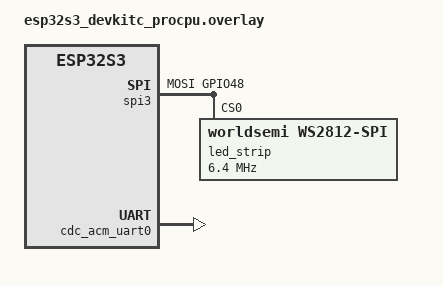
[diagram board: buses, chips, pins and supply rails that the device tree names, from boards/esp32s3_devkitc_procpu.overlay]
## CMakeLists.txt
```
cmake_minimum_required(VERSION 3.20.0)

find_package(Zephyr REQUIRED HINTS $ENV{ZEPHYR_BASE})

project(esp32_grillthermo)

target_sources(app PRIVATE
    src/main.c
    src/config.c
    src/shell.c
    src/wifi.c
    src/webserver.c
    src/temp_data.c
    src/bluetooth.c
    src/coex_printf.c
    src/status.c
)

zephyr_linker_sources(SECTIONS sections-rom.ld)
```

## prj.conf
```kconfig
# Bluetooth (BLE-REQ-01..10) — coexist_printf-Workaround in app/src/coex_printf.c
# (hal_espressif esp32s3-CMakeLists haengt die Quelle nicht ein; lokal nachgereicht)
CONFIG_BT=y
CONFIG_BT_CENTRAL=y
CONFIG_BT_GATT_CLIENT=y
CONFIG_BT_GATT_AUTO_DISCOVER_CCC=n
# Ohne automatischen MTU-Exchange bleibt ATT_MTU=23 (Default), womit
# Notifications auf 20 B Nutzdaten begrenzt sind — der G32 sendet ~28 B.
CONFIG_BT_GATT_AUTO_UPDATE_MTU=y
CONFIG_BT_DEVICE_NAME="ESP32_Grillthermo"
CONFIG_BT_MAX_CONN=1
CONFIG_BT_MAX_PAIRED=0
# BLE-NFR-03: kein SMP/Bonding, keine Settings-Persistenz
CONFIG_BT_SMP=n
CONFIG_BT_SETTINGS=n
# BLE-REQ-03: Eigenes bt-Kommando in shell.c — Zephyrs eingebauter bt-Shell-Befehl off
CONFIG_BT_SHELL=n
# Notify-Payload des G32: 28 B Nutzdaten — Buffer mit Reserve
CONFIG_BT_L2CAP_TX_MTU=64
CONFIG_BT_BUF_ACL_RX_SIZE=68

# Networking
CONFIG_NETWORKING=y
CONFIG_NET_TCP=y
CONFIG_NET_IPV4=y

# WiFi (ESP32) — WIFI_ESP32 wird automatisch durch Board-DTS aktiviert
CONFIG_WIFI=y
CONFIG_NET_DHCPV4=y
CONFIG_NET_L2_WIFI_MGMT=y
# Auto-DHCPv4 des ESP32-WiFi-Treibers (in Zephyr 4.4 mit ESP32_-Praefix)
CONFIG_ESP32_WIFI_STA_AUTO_DHCPV4=y

# Netzwerkpuffer: TX muss Headers (ungeACKt) + HTML-Body (~2KB inkl. SSE-Script)
# gleichzeitig halten. net_buf je 128B: ~16 buf fuer Body + Header-Reserve; 48 mit Margin.
CONFIG_NET_PKT_RX_COUNT=16
CONFIG_NET_PKT_TX_COUNT=16
CONFIG_NET_BUF_RX_COUNT=32
CONFIG_NET_BUF_TX_COUNT=48
CONFIG_NET_MGMT_EVENT_QUEUE_SIZE=16
CONFIG_NET_MGMT_EVENT_QUEUE_TIMEOUT=5000

# HTTP Server
CONFIG_HTTP_SERVER=y
CONFIG_HTTP_SERVER_CLIENT_BUFFER_SIZE=1500
CONFIG_HTTP_SERVER_STACK_SIZE=4096
# WEB-REQ-08: maximal 3 gleichzeitige HTTP-Clients
CONFIG_HTTP_SERVER_MAX_CLIENTS=3
# HTTP_SERVER_SOCK_COUNT = 1 (eventfd) + NUM_SERVICES (1) + MAX_CLIENTS (3) = 5
CONFIG_ZVFS_POLL_MAX=8

# USB (neuer Device Stack, Zephyr 4.x)
CONFIG_USB_DEVICE_STACK_NEXT=y
CONFIG_CDC_ACM_SERIAL_INITIALIZE_AT_BOOT=y
CONFIG_UART_LINE_CTRL=y

# Shell
CONFIG_SHELL=y
CONFIG_SHELL_BACKEND_SERIAL=y
CONFIG_SHELL_BACKEND_SERIAL_CHECK_DTR=y

# Hostname (WIF-REQ-06)
CONFIG_NET_HOSTNAME_ENABLE=y
CONFIG_NET_HOSTNAME_DYNAMIC=y

# Logging
CONFIG_LOG=y
CONFIG_SHELL_LOG_BACKEND=y
CONFIG_LOG_CMDS=y
CONFIG_LOG_DEFAULT_LEVEL=1

# Systemneustart (SHL-REQ-11)
CONFIG_REBOOT=y

# Konfigurationsspeicher (CFG-REQ-01, CFG-REQ-02, CFG-REQ-06)
CONFIG_FLASH=y
CONFIG_FLASH_MAP=y
CONFIG_NVS=y
CONFIG_CRC=y

# Statusanzeige RGB-LED WS2812 via SPI3 (STA-REQ-01)
CONFIG_LED_STRIP=y
CONFIG_WS2812_STRIP_SPI=y
```

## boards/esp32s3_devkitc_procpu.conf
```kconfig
# Board-specific configuration for ESP32-S3 DevKitC
CONFIG_UART_CONSOLE=y
```

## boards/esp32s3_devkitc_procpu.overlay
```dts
#include <zephyr/dt-bindings/led/led.h>
#include <zephyr/dt-bindings/pinctrl/esp32s3-pinctrl.h>

/ {
    chosen {
        zephyr,console = &cdc_acm_uart0;
        zephyr,shell-uart = &cdc_acm_uart0;
    };

    /* STA-REQ-01: Alias fuer RGB-LED-Strip */
    aliases {
        led-strip = &led_strip;
    };
};

/* STA-REQ-01: Pinctrl fuer SPI3 MOSI auf GPIO 48 (WS2812 RGB-LED) */
&pinctrl {
    spim3_ws2812: spim3_ws2812 {
        group1 {
            pinmux = <SPIM3_MOSI_GPIO48>;
            output-enable;
        };
    };
};

/* STA-REQ-01: SPI3 als WS2812-Treiber auf GPIO 48 */
&spi3 {
    pinctrl-0 = <&spim3_ws2812>;
    pinctrl-names = "default";
    line-idle-low;

    led_strip: ws2812@0 {
        compatible = "worldsemi,ws2812-spi";
        reg = <0>;
        spi-max-frequency = <6400000>;
        chain-length = <1>;
        spi-cpha;
        /* WS2812: 1-Bit = 4 High + 4 Low, 0-Bit = 2 High + 6 Low bei 6.4 MHz */
        spi-one-frame = <0xf0>;
        spi-zero-frame = <0xc0>;
        /* WS2812 sendet in GRB-Reihenfolge */
        color-mapping = <LED_COLOR_ID_GREEN
                         LED_COLOR_ID_RED
                         LED_COLOR_ID_BLUE>;
    };
};

&zephyr_udc0 {
    cdc_acm_uart0: cdc_acm_uart0 {
        compatible = "zephyr,cdc-acm-uart";
    };
};
```

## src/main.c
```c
/* SHL-REQ-01: USB CDC-ACM wird automatisch durch
 * CONFIG_CDC_ACM_SERIAL_INITIALIZE_AT_BOOT initialisiert.
 * SHL-REQ-07: Bootmeldung und DTR-Erkennung in shell.c */
#include "webserver.h"
#include "config.h"

#include <zephyr/kernel.h>
#include <zephyr/logging/log.h>

LOG_MODULE_REGISTER(esp32_grillthermo, LOG_LEVEL_ERR);

int main(void)
{
    Config_Data_t cfg;

    LOG_INF("ESP32 Grillthermo gestartet.");

    /* CFG-REQ-07 / ADR-001: Webserver nur starten wenn Netzwerkmodus webserver.
     * Config_Init() wurde bereits via SYS_INIT (APPLICATION, 0) ausgefuehrt. */
    if (Config_Load(&cfg) != 0) {
        Config_GetDefaults(&cfg);
    }

    if (cfg.networkMode == CFG_NETWORK_WEBSERVER) {
        Webserver_Start();
    }

    return 0;
}
```

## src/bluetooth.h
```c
/* BLE-REQ-01..10: Bluetooth-Kommunikation mit Otto Wilde G32 */
#ifndef APP_BLUETOOTH_H
#define APP_BLUETOOTH_H

#include <stdint.h>
#include <stdbool.h>
#include "config.h"

/* BLE-REQ-10: Bluetooth-Statusstruktur fuer externe Module (Shell/LED) */
typedef struct {
    bool     connected;                            /* GATT-Verbindung mit Notify aktiv */
    bool     paired;                               /* Grill-MAC im Konfigurationsspeicher hinterlegt */
    char     peerMac[CFG_GRILL_MAC_BUF_SIZE];      /* gekoppelte MAC oder leer */
    uint32_t lastPacketUptimeMs;                   /* Uptime (ms) des letzten Notify-Pakets */
} Bluetooth_Status_t;

/* BLE-REQ-03: Scan starten.
 * filterByG32 = true: nur Geraete mit Advertising-Name "OWG-G32C" oder G32-Service-UUID
 * filterByG32 = false: alle empfangenen Geraete (Diagnose, "bt scan all").
 * Scan endet automatisch nach BLUETOOTH_SCAN_TIMEOUT_MS oder per Bluetooth_ScanStop(). */
int Bluetooth_ScanStart(bool filterByG32);

/* BLE-REQ-03: Laufenden Scan vorzeitig beenden. */
int Bluetooth_ScanStop(void);

/* BLE-REQ-04..08: Verbindungsaufbau zur gespeicherten Grill-MAC ausloesen.
 * Liest die aktuelle Konfiguration; bei leerer MAC nur Hinweis-Log, kein Fehler. */
int Bluetooth_Reconnect(void);

/* BLE-REQ-03: Aktive GATT-Verbindung zum Grill trennen. */
int Bluetooth_Disconnect(void);

/* BLE-REQ-10: Aktuellen Status abfragen. */
void Bluetooth_GetStatus(Bluetooth_Status_t *status);

/* Diagnose: Sniff-Modus ein-/ausschalten. Bei aktivem Sniff wird jede
 * empfangene Notify-Payload als Hex-Dump plus aktuell decodierter Belegung
 * (Brenner/Kern/Gas mit Byte-Offsets) auf die Konsole geschrieben. */
void Bluetooth_SetSniff(bool enable);
bool Bluetooth_GetSniff(void);

#endif /* APP_BLUETOOTH_H */
```

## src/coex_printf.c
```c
/* Workaround fuer Zephyr 4.4 / hal_espressif esp32s3:
 * Der Coexist-Blob (libcoexist.a) referenziert coexist_printf, dessen
 * Quelle (components/esp_coex/src/lib_printf.c) im esp32s3-CMakeLists
 * NICHT im CONFIG_ESP32_SW_COEXIST_ENABLE-Block eingehaengt ist
 * (vorhanden nur im esp32-Build). Solange das Upstream nicht gepatcht
 * ist, liefern wir die Funktion hier nach.
 *
 * Die Funktion wird nur bei aktivierter BT+WiFi-Koexistenz vom Blob
 * aufgerufen; sie sollte das Format ausgeben und die Laenge melden. */

#include <stdarg.h>
#include <stdio.h>
#include <zephyr/sys/printk.h>

int coexist_printf(const char *format, ...);

int coexist_printf(const char *format, ...)
{
    va_list args;
    char    buf[80];
    int     len;

    va_start(args, format);
    len = vsnprintf(buf, sizeof(buf), format, args);
    va_end(args);

    if (len > 0) {
        printk("[coexist] %s", buf);
    }

    return len;
}
```

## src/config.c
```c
/* CFG-REQ-01, CFG-REQ-02, CFG-REQ-03, CFG-REQ-06, CFG-NFR-01, CFG-NFR-02, CFG-NFR-03 */
#include "config.h"

#include <zephyr/kernel.h>
#include <zephyr/logging/log.h>
#include <zephyr/fs/nvs.h>
#include <zephyr/storage/flash_map.h>
#include <zephyr/sys/crc.h>
#include <stddef.h>
#include <string.h>
#include <errno.h>

LOG_MODULE_REGISTER(config_store, LOG_LEVEL_ERR);

/* CFG-NFR-01: Ausschliesslich Zephyr NVS API, kein direkter Flash-Zugriff */
/* CFG-NFR-02: Alle Puffer statisch alloziert, keine dynamische Speicherverwaltung */

/* ESP32-S3: Flash-Loeschseite 4 KB; storage_partition 192 KB = 48 Sektoren */
#define NVS_SECTOR_SIZE  (0x1000U)
#define NVS_SECTOR_COUNT (48U)
#define NVS_SLOT_COUNT   (3U)   /* CFG-REQ-06: drei Generationen */
#define NVS_ID_BASE      (1U)   /* NVS-ID 0 ist reserviert */

/* CFG-REQ-06: Datensatz pro Slot — CRC muss das letzte Feld sein */
typedef struct {
    uint8_t       generation;
    bool          valid;
    Config_Data_t data;
    uint32_t      crc; /* deckt alle vorigen Felder ab */
} Config_Record_t;

static struct nvs_fs g_NvsFs;
static bool          g_Initialized = false;

/* CFG-REQ-06: CRC32 ueber alle Felder des Records ausser dem CRC-Feld selbst */
static uint32_t Config_ComputeCrc(const Config_Record_t *record)
{
    return crc32_ieee((const uint8_t *)record, offsetof(Config_Record_t, crc));
}

/* CFG-REQ-06: Prueft Gueltigkeitsflag und CRC-Korrektheit */
static bool Config_IsRecordValid(const Config_Record_t *record)
{
    uint32_t expected;

    if (!record->valid) {
        return false;
    }

    expected = Config_ComputeCrc(record);

    return (record->crc == expected);
}

/* CFG-REQ-06: Neueste gueltige Generation unter den drei Slots suchen.
 * Rueckgabe: Slot-Index [0..2] oder -1 wenn kein gueltiger Eintrag vorhanden. */
static int Config_FindNewest(const Config_Record_t records[NVS_SLOT_COUNT])
{
    int    newestIdx = -1;
    size_t i;

    for (i = 0U; i < NVS_SLOT_COUNT; i++) {
        if (!Config_IsRecordValid(&records[i])) {
            continue;
        }

        if (newestIdx < 0) {
            newestIdx = (int)i;
        } else {
            /* Modularer uint8_t-Vergleich sichert korrekte Behandlung des Ueberlaufs */
            uint8_t diff = records[i].generation - records[newestIdx].generation;

            if (diff < 128U) {
                newestIdx = (int)i;
            }
        }
    }

    return newestIdx;
}

/* CFG-REQ-02: Konfiguration aus NVS laden; bei Fehler Standardwerte verwenden */
int Config_Load(Config_Data_t *data)
{
    /* Statisch alloziert: 732 Byte; verhindert Stack-Ueberlauf auf dem Shell-Thread */
    static Config_Record_t records[NVS_SLOT_COUNT];
    uint16_t               id;
    int                    newestIdx;
    ssize_t                rc;
    size_t                 i;

    if (data == NULL) {
        return -EINVAL;
    }

    if (!g_Initialized) {
        Config_GetDefaults(data);
        return -ENODEV;
    }

    (void)memset(records, 0, sizeof(records));

    for (i = 0U; i < NVS_SLOT_COUNT; i++) {
        id = (uint16_t)(NVS_ID_BASE + i);
        rc = nvs_read(&g_NvsFs, id, &records[i], sizeof(Config_Record_t));

        if ((rc != (ssize_t)sizeof(Config_Record_t)) && (rc != -ENOENT)) {
            /* CFG-NFR-03: Lesefehler loggen; Eintrag bleibt null-initialisiert (ungueltig) */
            LOG_ERR("NVS-Lesefehler Slot %u: %d", (unsigned int)id, (int)rc);
        }
    }

    newestIdx = Config_FindNewest(records);

    if (newestIdx < 0) {
        /* CFG-NFR-03: Kein gueltiger Eintrag — System startet mit Standardwerten */
        LOG_INF("Keine gueltige Konfiguration; Standardwerte aktiv.");
        Config_GetDefaults(data);
        return -ENOENT;
    }

    LOG_INF("Konfiguration geladen (Generation %u).",
            (unsigned int)records[newestIdx].generation);
    *data = records[newestIdx].data;

    return 0;
}

/* CFG-REQ-01: Konfiguration in NVS speichern.
 * Schreibvorgang wird vor der Rueckkehr abgeschlossen (kein Hintergrundpuffer). */
int Config_Save(const Config_Data_t *data)
{
    /* Statisch alloziert: 976 Byte gesamt; verhindert Stack-Ueberlauf auf dem Shell-Thread */
    static Config_Record_t records[NVS_SLOT_COUNT];
    static Config_Record_t newRecord;
    uint16_t               writeId;
    int                    newestIdx;
    ssize_t                rc;
    size_t                 i;

    if (data == NULL) {
        return -EINVAL;
    }

    if (!g_Initialized) {
        return -ENODEV;
    }

    (void)memset(records, 0, sizeof(records));

    /* Vorhandene Eintraege lesen um aktuelle Generation zu ermitteln */
    for (i = 0U; i < NVS_SLOT_COUNT; i++) {
        uint16_t id = (uint16_t)(NVS_ID_BASE + i);

        (void)nvs_read(&g_NvsFs, id, &records[i], sizeof(Config_Record_t));
    }

    newestIdx = Config_FindNewest(records);

    /* Naechste Generation berechnen; uint8_t-Ueberlauf (255 -> 0) ist gewollt */
    if (newestIdx < 0) {
        newRecord.generation = 0U;
    } else {
        newRecord.generation = (uint8_t)(records[newestIdx].generation + 1U);
    }

    newRecord.valid = true;
    newRecord.data  = *data;
    newRecord.crc   = Config_ComputeCrc(&newRecord);

    /* CFG-REQ-06: Slot-Zuweisung per Modulo ueber Slot-Anzahl */
    writeId = (uint16_t)(NVS_ID_BASE + (newRecord.generation % (uint8_t)NVS_SLOT_COUNT));

    rc = nvs_write(&g_NvsFs, writeId, &newRecord, sizeof(Config_Record_t));

    if (rc < 0) {
        /* CFG-NFR-03: Schreibfehler loggen */
        LOG_ERR("NVS-Schreibfehler Slot %u: %d", (unsigned int)writeId, (int)rc);
        return (int)rc;
    }

    LOG_INF("Konfiguration gespeichert (Generation %u, Slot %u).",
            (unsigned int)newRecord.generation, (unsigned int)writeId);

    return 0;
}

/* CFG-REQ-04: Standardwerte fuer alle Parameter setzen */
void Config_GetDefaults(Config_Data_t *data)
{
    if (data == NULL) {
        return;
    }

    (void)memset(data, 0, sizeof(Config_Data_t));
    (void)strncpy(data->pin, CFG_PIN_DEFAULT, CFG_PIN_BUF_SIZE - 1U);
    data->pin[CFG_PIN_BUF_SIZE - 1U] = '\0';
    data->brightnessStep = 6U; /* STA-REQ-07/09: Stufe 6 = 25 % Standard */
}

/* CFG-REQ-03: Alle NVS-Slots ungueltig schreiben.
 * CFG-REQ-06: Ungueltige Eintraege haben valid=false UND absichtlich falsche CRC. */
int Config_InvalidateAll(void)
{
    Config_Record_t record;
    uint16_t        id;
    ssize_t         rc;
    int             lastError = 0;
    size_t          i;

    if (!g_Initialized) {
        return -ENODEV;
    }

    for (i = 0U; i < NVS_SLOT_COUNT; i++) {
        id = (uint16_t)(NVS_ID_BASE + i);

        (void)memset(&record, 0, sizeof(Config_Record_t));
        record.generation = (uint8_t)i;
        record.valid      = false;
        /* Korrekten Wert berechnen und dann negieren — garantiert falsche CRC */
        record.crc = Config_ComputeCrc(&record) ^ 0xFFFFFFFFU;

        rc = nvs_write(&g_NvsFs, id, &record, sizeof(Config_Record_t));

        if (rc < 0) {
            /* CFG-NFR-03: Fehler loggen, aber restliche Slots weiter invalidieren */
            LOG_ERR("NVS-Invalidierungsfehler Slot %u: %d", (unsigned int)id, (int)rc);
            lastError = (int)rc;
        }
    }

    return lastError;
}

/* CFG-REQ-01, CFG-REQ-02: NVS-Dateisystem initialisieren und einhaengen */
int Config_Init(void)
{
    int rc;

    if (g_Initialized) {
        return 0;
    }

    g_NvsFs.flash_device = FIXED_PARTITION_DEVICE(storage_partition);
    g_NvsFs.offset       = (off_t)FIXED_PARTITION_OFFSET(storage_partition);
    g_NvsFs.sector_size  = (uint32_t)NVS_SECTOR_SIZE;
    g_NvsFs.sector_count = (uint32_t)NVS_SECTOR_COUNT;

    rc = nvs_mount(&g_NvsFs);

    if (rc < 0) {
        /* CFG-NFR-03: Initialisierungsfehler loggen; System bleibt funktionsfaehig */
        LOG_ERR("NVS-Initialisierungsfehler: %d", rc);
        return rc;
    }

    g_Initialized = true;
    LOG_INF("NVS initialisiert (%u Sektoren x %u Byte).",
            (unsigned int)NVS_SECTOR_COUNT, (unsigned int)NVS_SECTOR_SIZE);

    return 0;
}
```

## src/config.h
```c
/* CFG-REQ-01, CFG-REQ-02, CFG-REQ-04, CFG-REQ-06: Konfigurationsspeicher-API */
#ifndef APP_CONFIG_H
#define APP_CONFIG_H

#include <stdint.h>
#include <stdbool.h>

#define CFG_WIFI_SSID_MAX_LEN      (32U)
#define CFG_WIFI_PASS_MAX_LEN      (64U)
#define CFG_WIFI_HOSTNAME_MAX_LEN  (63U)  /* WIF-REQ-06: Zephyr NET_HOSTNAME_MAX_LEN (range 1-63) */
#define CFG_PIN_MIN_LEN            (4U)
#define CFG_PIN_MAX_LEN            (6U)
#define CFG_PIN_BUF_SIZE           (CFG_PIN_MAX_LEN + 1U)
#define CFG_PIN_DEFAULT            "000000"
/* BLE-REQ-07: MAC des gekoppelten Otto-Wilde-G32 als Zeichenkette
 * "AA:BB:CC:DD:EE:FF" (17 Zeichen + Nullterminator). Leer = keine Kopplung. */
#define CFG_GRILL_MAC_STR_LEN      (17U)
#define CFG_GRILL_MAC_BUF_SIZE     (CFG_GRILL_MAC_STR_LEN + 1U)

/* CFG-REQ-04: Konfigurationsparameter */
typedef struct {
    char    wifiSsid[CFG_WIFI_SSID_MAX_LEN + 1U];
    char    wifiPassword[CFG_WIFI_PASS_MAX_LEN + 1U]; /* TODO: CFG-REQ-05 AES */
    char    wifiHostname[CFG_WIFI_HOSTNAME_MAX_LEN + 1U]; /* WIF-REQ-06 */
    char    pin[CFG_PIN_BUF_SIZE];                    /* TODO: CFG-REQ-05 AES */
    char    grillMac[CFG_GRILL_MAC_BUF_SIZE];         /* BLE-REQ-07 */
    uint8_t brightnessStep;                            /* STA-REQ-09: LED-Helligkeit (0..9) */
} Config_Data_t;

int  Config_Init(void);
int  Config_Load(Config_Data_t *data);
int  Config_Save(const Config_Data_t *data);
void Config_GetDefaults(Config_Data_t *data);
int  Config_InvalidateAll(void);

#endif /* APP_CONFIG_H */
```

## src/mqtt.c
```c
/* MQT-REQ-01, MQT-REQ-03, MQT-NFR-01, MQT-NFR-02: MQTT-Verbindung und Publishing, MISRA-konform */
#include "mqtt.h"
#include "config.h"
#include "temp_data.h"
#include "wifi.h"

#include <zephyr/kernel.h>
#include <zephyr/logging/log.h>
#include <zephyr/net/mqtt.h>
#include <zephyr/net/socket.h>
#include <zephyr/sys/printk.h>
#include <string.h>

LOG_MODULE_REGISTER(grill_mqtt, LOG_LEVEL_INF);

/* MQT-NFR-02: Puffer als Compile-Zeit-Konstanten dimensioniert */
#define MQTT_RX_BUF_SIZE     (512U)
#define MQTT_TX_BUF_SIZE     (256U)
#define MQTT_KEEPALIVE_S     (60U)
#define MQTT_POLL_TIMEOUT_MS (30000)
#define MQTT_PORT_STR        "1883"
#define MQTT_RECONNECT_S     (30U)
#define MQTT_STACK_SIZE      (4096U)
#define MQTT_THREAD_PRIO     (5)

/* MQT-REQ-03: Publishing-Konstanten */
#define MQTT_PUB_STACK_SIZE    (2048U)
#define MQTT_PUB_THREAD_PRIO   (6)
#define MQTT_TOPIC_BUF_SIZE    (32U)
#define MQTT_PAYLOAD_BUF_SIZE  (8U)
#define MQTT_TOPIC_PREFIX      "ESP_Grillthermo/"
#define MQTT_PUBLISH_INTERVAL_S (10U)

static uint8_t            g_RxBuf[MQTT_RX_BUF_SIZE];
static uint8_t            g_TxBuf[MQTT_TX_BUF_SIZE];
static struct mqtt_client g_Client;
/* MISRA 11.4: struct sockaddr_in fuer Broker-Adresse; cast auf const void* fuer MQTT-API noetig */
static struct sockaddr_in g_BrokerAddr;
static bool               g_TcpActive = false; /* TCP-Verbindung offen (inkl. MQTT-Handshake) */
static bool               g_Connected = false; /* MQTT CONNACK erfolgreich */
static char               g_BrokerHostname[CFG_MQTT_BROKER_MAX_LEN + 1U];
static char               g_ClientId[CFG_WIFI_HOSTNAME_MAX_LEN + 1U];
static char               g_Password[CFG_MQTT_PASS_MAX_LEN + 1U];
static struct mqtt_utf8   g_MqttPassword;
static struct mqtt_utf8   g_MqttUserName;

/* MQT-REQ-01: Semaphor fuer sofortigen Wiederverbindungsversuch */
static K_SEM_DEFINE(g_ReconnectSem, 0, 1);

/* MQT-REQ-03: Mutex serialisiert mqtt_input/mqtt_live/mqtt_publish gegen gleichzeitigen Zugriff */
static K_MUTEX_DEFINE(g_MqttClientMutex);

static K_THREAD_STACK_DEFINE(g_MqttStack, MQTT_STACK_SIZE);
static struct k_thread g_MqttThread;

static K_THREAD_STACK_DEFINE(g_PubStack, MQTT_PUB_STACK_SIZE);
static struct k_thread g_PubThread;

static void Mqtt_EventCb(struct mqtt_client *client, const struct mqtt_evt *evt)
{
    ARG_UNUSED(client);

    switch (evt->type) {
    case MQTT_EVT_CONNACK:
        if (evt->result == 0) {
            g_Connected = true;
            LOG_INF("MQTT verbunden: %s", g_BrokerHostname);
        } else {
            /* Broker hat Verbindung abgelehnt (z.B. falsche Zugangsdaten) */
            LOG_WRN("MQTT CONNACK abgelehnt: Code %d", evt->result);
            g_TcpActive = false;
        }
        break;

    case MQTT_EVT_DISCONNECT:
        g_Connected = false;
        g_TcpActive = false;
        LOG_INF("MQTT getrennt");
        break;

    default:
        break;
    }
}

static int Mqtt_DoConnect(void)
{
    struct zsock_addrinfo *res = NULL;
    int rc;

    rc = zsock_getaddrinfo(g_BrokerHostname, MQTT_PORT_STR, NULL, &res);
    if (rc != 0) {
        LOG_ERR("DNS-Aufloesung fehlgeschlagen fuer %s: %d", g_BrokerHostname, rc);
        return -EHOSTUNREACH;
    }

    if (res == NULL) {
        return -EHOSTUNREACH;
    }

    /* Adresse in statischen Puffer kopieren; res->ai_addr zeigt auf struct sockaddr_in */
    (void)memcpy(&g_BrokerAddr, res->ai_addr, sizeof(g_BrokerAddr));
    zsock_freeaddrinfo(res);

    mqtt_client_init(&g_Client);

    /* MISRA 11.3: Pointer-Cast auf const void* fuer Zephyr MQTT API (broker-Feld) */
    g_Client.broker           = (const void *)&g_BrokerAddr;
    g_Client.evt_cb           = Mqtt_EventCb;
    g_Client.client_id.utf8   = (const uint8_t *)g_ClientId;
    g_Client.client_id.size   = (uint32_t)strlen(g_ClientId);
    g_Client.keepalive        = (uint16_t)MQTT_KEEPALIVE_S;
    g_Client.protocol_version = (uint8_t)MQTT_VERSION_3_1_1;
    g_Client.rx_buf           = g_RxBuf;
    g_Client.rx_buf_size      = (uint32_t)MQTT_RX_BUF_SIZE;
    g_Client.tx_buf           = g_TxBuf;
    g_Client.tx_buf_size      = (uint32_t)MQTT_TX_BUF_SIZE;
    g_Client.transport.type   = MQTT_TRANSPORT_NON_SECURE;
    g_Client.user_name        = NULL;
    g_Client.password         = NULL;

    if (g_Password[0] != '\0') {
        /* MQTT-Spec: Passwort erfordert Benutzername; ClientId wird als Benutzername verwendet */
        g_MqttUserName.utf8    = (const uint8_t *)g_ClientId;
        g_MqttUserName.size    = (uint32_t)strlen(g_ClientId);
        g_MqttPassword.utf8    = (const uint8_t *)g_Password;
        g_MqttPassword.size    = (uint32_t)strlen(g_Password);
        g_Client.user_name     = &g_MqttUserName;
        g_Client.password      = &g_MqttPassword;
    }

    rc = mqtt_connect(&g_Client);
    if (rc == 0) {
        g_TcpActive = true;
    } else {
        LOG_ERR("mqtt_connect fehlgeschlagen: %d", rc);
    }

    return rc;
}

static void Mqtt_RunEventLoop(void)
{
    struct zsock_pollfd fds;
    int                 rc;

    fds.events  = ZSOCK_POLLIN;
    fds.revents = 0;

    /* Schleife laeuft solange TCP-Verbindung offen ist — auch waehrend des CONNACK-Wartens */
    while (g_TcpActive) {
        fds.fd = g_Client.transport.tcp.sock;

        /* zsock_poll ohne Mutex: blockiert nur auf Socket-Daten, beruehrt g_Client nicht */
        rc = zsock_poll(&fds, 1, MQTT_POLL_TIMEOUT_MS);
        if (rc < 0) {
            LOG_ERR("poll-Fehler: %d", rc);
            g_TcpActive = false;
            break;
        }

        (void)k_mutex_lock(&g_MqttClientMutex, K_FOREVER);

        if (rc > 0) {
            rc = mqtt_input(&g_Client);
            if (rc != 0) {
                LOG_ERR("mqtt_input-Fehler: %d", rc);
                g_TcpActive = false;
                (void)k_mutex_unlock(&g_MqttClientMutex);
                break;
            }
        }

        rc = mqtt_live(&g_Client);

        (void)k_mutex_unlock(&g_MqttClientMutex);

        if ((rc != 0) && (rc != -EAGAIN)) {
            LOG_ERR("mqtt_live-Fehler: %d", rc);
            g_TcpActive = false;
            break;
        }
    }
}

/* MQT-REQ-03: Einzelnen Wert auf ein Topic publizieren (QoS 0, Retain gesetzt).
 * Muss unter g_MqttClientMutex aufgerufen werden. */
static int Mqtt_PublishValue(const char *topic, int16_t value)
{
    char                      payload[MQTT_PAYLOAD_BUF_SIZE];
    struct mqtt_publish_param param;
    int                       n;

    n = snprintk(payload, sizeof(payload), "%d", (int)value);
    if ((n <= 0) || (n >= (int)sizeof(payload))) {
        return -EINVAL;
    }

    param.message.topic.qos        = MQTT_QOS_0_AT_MOST_ONCE;
    param.message.topic.topic.utf8 = (const uint8_t *)topic;
    param.message.topic.topic.size = (uint32_t)strlen(topic);
    param.message.payload.data     = (uint8_t *)payload;
    param.message.payload.len      = (uint32_t)n;
    param.message_id               = 0U;
    param.dup_flag                 = 0U;
    param.retain_flag              = 1U;

    return mqtt_publish(&g_Client, &param);
}

/* MQT-REQ-03: Alle gueltigen Werte aus dem Snapshot publizieren.
 * Muss unter g_MqttClientMutex aufgerufen werden. */
static void Mqtt_PublishSnapshot(const Temp_Data_t *snap)
{
    char    topic[MQTT_TOPIC_BUF_SIZE];
    uint8_t i;
    int     rc;

    for (i = 0U; i < (uint8_t)TEMP_ZONE_COUNT; i++) {
        if (snap->burner[i].valid) {
            (void)snprintk(topic, sizeof(topic),
                           MQTT_TOPIC_PREFIX "burner/%u/", (unsigned)(i + 1U));
            rc = Mqtt_PublishValue(topic, snap->burner[i].value);
            if (rc != 0) {
                LOG_WRN("Publish fehlgeschlagen fuer %s: %d", topic, rc);
            }
        }

        if (snap->core[i].valid) {
            (void)snprintk(topic, sizeof(topic),
                           MQTT_TOPIC_PREFIX "core/%u/", (unsigned)(i + 1U));
            rc = Mqtt_PublishValue(topic, snap->core[i].value);
            if (rc != 0) {
                LOG_WRN("Publish fehlgeschlagen fuer %s: %d", topic, rc);
            }
        }
    }

    if (snap->gas.valid) {
        rc = Mqtt_PublishValue(MQTT_TOPIC_PREFIX "gas/level/", snap->gas.value);
        if (rc != 0) {
            LOG_WRN("Publish fehlgeschlagen fuer gas/level: %d", rc);
        }
    }
}

/* MQT-REQ-03: Publish-Thread — publiziert alle gueltigen Messwerte im 10-Sekunden-Takt */
static void Mqtt_PublishThread(void *p1, void *p2, void *p3)
{
    Temp_Data_t snap;

    ARG_UNUSED(p1);
    ARG_UNUSED(p2);
    ARG_UNUSED(p3);

    for (;;) {
        k_sleep(K_SECONDS(MQTT_PUBLISH_INTERVAL_S));

        (void)k_mutex_lock(&g_TempMutex, K_FOREVER);
        snap = g_TempData;
        (void)k_mutex_unlock(&g_TempMutex);

        (void)k_mutex_lock(&g_MqttClientMutex, K_FOREVER);
        if (g_Connected) {
            Mqtt_PublishSnapshot(&snap);
        }
        (void)k_mutex_unlock(&g_MqttClientMutex);
    }
}

static void Mqtt_Thread(void *p1, void *p2, void *p3)
{
    Config_Data_t cfg;

    ARG_UNUSED(p1);
    ARG_UNUSED(p2);
    ARG_UNUSED(p3);

    /* MQT-REQ-01 / ADR-001: Thread sofort beenden wenn Netzwerkmodus nicht mqtt.
     * Config_Init() ist zu diesem Zeitpunkt via SYS_INIT bereits abgeschlossen. */
    if (Config_Load(&cfg) != 0) {
        Config_GetDefaults(&cfg);
    }
    if (cfg.networkMode != CFG_NETWORK_MQTT) {
        return;
    }

    for (;;) {
        /* MQT-REQ-01: Erst WiFi abwarten, bevor Verbindungsversuch */
        while (!Wifi_WaitConnected(K_SECONDS(30))) {
            /* Weiter warten bis WiFi bereit ist */
        }

        if (Config_Load(&cfg) != 0) {
            Config_GetDefaults(&cfg);
        }

        if (cfg.mqttBroker[0] == '\0') {
            /* Kein Broker konfiguriert — auf Konfigurationsaenderung warten */
            (void)k_sem_take(&g_ReconnectSem, K_SECONDS(10));
            continue;
        }

        (void)strncpy(g_BrokerHostname, cfg.mqttBroker, CFG_MQTT_BROKER_MAX_LEN);
        g_BrokerHostname[CFG_MQTT_BROKER_MAX_LEN] = '\0';
        (void)strncpy(g_Password, cfg.mqttPassword, CFG_MQTT_PASS_MAX_LEN);
        g_Password[CFG_MQTT_PASS_MAX_LEN] = '\0';
        (void)strncpy(g_ClientId, cfg.wifiHostname, CFG_WIFI_HOSTNAME_MAX_LEN);
        g_ClientId[CFG_WIFI_HOSTNAME_MAX_LEN] = '\0';

        if (g_ClientId[0] == '\0') {
            /* Fallback: ohne Hostname keine sinnvolle Client-ID */
            (void)strncpy(g_ClientId, "ESP32_Grillthermo", CFG_WIFI_HOSTNAME_MAX_LEN);
            g_ClientId[CFG_WIFI_HOSTNAME_MAX_LEN] = '\0';
        }

        if (Mqtt_DoConnect() == 0) {
            Mqtt_RunEventLoop();
            mqtt_abort(&g_Client);
        }

        (void)k_mutex_lock(&g_MqttClientMutex, K_FOREVER);
        g_TcpActive = false;
        g_Connected = false;
        (void)k_mutex_unlock(&g_MqttClientMutex);

        /* MQT-REQ-01: 30 s warten; Mqtt_Reconnect() kann die Wartezeit verkuerzen */
        (void)k_sem_take(&g_ReconnectSem, K_SECONDS(MQTT_RECONNECT_S));
    }
}

/* MQT-REQ-04: Verbindungsstatus abfragen */
void Mqtt_GetStatus(Mqtt_Status_t *status)
{
    if (status != NULL) {
        status->connected = g_Connected;
        (void)strncpy(status->broker, g_BrokerHostname, CFG_MQTT_BROKER_MAX_LEN);
        status->broker[CFG_MQTT_BROKER_MAX_LEN] = '\0';
    }
}

/* MQT-REQ-01: Sofortigen Wiederverbindungsversuch ausloesen */
void Mqtt_Reconnect(void)
{
    (void)k_sem_give(&g_ReconnectSem);
}

static int Mqtt_Init(void)
{
    (void)k_thread_create(&g_MqttThread, g_MqttStack,
                          K_THREAD_STACK_SIZEOF(g_MqttStack),
                          Mqtt_Thread, NULL, NULL, NULL,
                          MQTT_THREAD_PRIO, 0, K_NO_WAIT);
    (void)k_thread_name_set(&g_MqttThread, "mqtt");

    (void)k_thread_create(&g_PubThread, g_PubStack,
                          K_THREAD_STACK_SIZEOF(g_PubStack),
                          Mqtt_PublishThread, NULL, NULL, NULL,
                          MQTT_PUB_THREAD_PRIO, 0, K_NO_WAIT);
    (void)k_thread_name_set(&g_PubThread, "mqtt_pub");

    return 0;
}

SYS_INIT(Mqtt_Init, APPLICATION, 1);
```

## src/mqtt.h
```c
/* MQT-REQ-01, MQT-REQ-04: MQTT-Verbindungsmanagement */
#ifndef APP_MQTT_H
#define APP_MQTT_H

#include <stdbool.h>
#include "config.h"

typedef struct {
    bool connected;
    char broker[CFG_MQTT_BROKER_MAX_LEN + 1U];
} Mqtt_Status_t;

/* MQT-REQ-04: Aktuellen MQTT-Verbindungsstatus liefern */
void Mqtt_GetStatus(Mqtt_Status_t *status);

/* MQT-REQ-01: Sofortigen Wiederverbindungsversuch ausloesen */
void Mqtt_Reconnect(void);

#endif /* APP_MQTT_H */
```

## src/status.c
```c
/* STA-REQ-01..08, STA-NFR-01..03: RGB-LED Statusanzeige */
#include "status.h"
#include "wifi.h"
#include "bluetooth.h"

#include <zephyr/kernel.h>
#include <zephyr/drivers/led_strip.h>
#include <zephyr/device.h>
#include <zephyr/devicetree.h>

/* STA-NFR-02: Statisch allozierter Stack */
#define STATUS_THREAD_STACK_SIZE  (1024U)
#define STATUS_THREAD_PRIORITY    (10)
/* STA-NFR-03: Abfrageintervall <= 250 ms sichert Reaktionszeit <= 500 ms */
#define STATUS_POLL_MS            (250U)

#define STATUS_LED_NODE  DT_ALIAS(led_strip)

/* STA-REQ-02..05: Farbwerte (RGB) */
static const struct led_rgb COLOR_ORANGE = { .r = 255U, .g = 80U,  .b = 0U   };
static const struct led_rgb COLOR_BLUE   = { .r = 0U,   .g = 0U,   .b = 255U };
static const struct led_rgb COLOR_CYAN   = { .r = 0U,   .g = 255U, .b = 255U };
static const struct led_rgb COLOR_WHITE  = { .r = 255U, .g = 255U, .b = 255U };

/* STA-REQ-07: Logarithmische Helligkeitstabelle (10 Stufen, Faktor ~1.585 pro Stufe) */
static const uint8_t STATUS_BRIGHTNESS_TABLE[STATUS_BRIGHTNESS_STEPS] = {
    4U, 6U, 10U, 16U, 25U, 40U, 64U, 101U, 160U, 255U
};
/* STA-REQ-07: Standard-Helligkeit Stufe 6 = 64/255 = 25 % */
static uint8_t g_BrightnessStep = STATUS_BRIGHTNESS_DEFAULT;

static const struct device *g_LedDev = NULL;
static struct led_rgb        g_Pixel[1];
static const struct led_rgb *g_CurrentColor = NULL;

static void Status_SetLed(const struct led_rgb *color)
{
    uint8_t factor;

    if (g_LedDev == NULL) {
        return;
    }

    g_CurrentColor = color;
    factor = STATUS_BRIGHTNESS_TABLE[g_BrightnessStep];

    /* STA-REQ-07: Helligkeit skalieren ohne Floating-Point */
    g_Pixel[0].r = (uint8_t)(((uint16_t)color->r * (uint16_t)factor) / 255U);
    g_Pixel[0].g = (uint8_t)(((uint16_t)color->g * (uint16_t)factor) / 255U);
    g_Pixel[0].b = (uint8_t)(((uint16_t)color->b * (uint16_t)factor) / 255U);

    (void)led_strip_update_rgb(g_LedDev, g_Pixel, 1U);
}

/* STA-REQ-08: Helligkeitsstufe setzen und LED sofort aktualisieren */
void Status_SetBrightness(uint8_t step)
{
    if (step >= STATUS_BRIGHTNESS_STEPS) {
        return;
    }
    g_BrightnessStep = step;
    if (g_CurrentColor != NULL) {
        Status_SetLed(g_CurrentColor);
    }
}

/* STA-REQ-08: Aktuelle Helligkeitsstufe abfragen */
uint8_t Status_GetBrightness(void)
{
    return g_BrightnessStep;
}

/* STA-REQ-06 */
void Status_SetConnectionState(bool wifiConnected, bool btConnected)
{
    const struct led_rgb *color;

    if (wifiConnected && btConnected) {
        color = &COLOR_WHITE;   /* STA-REQ-05: beide verbunden */
    } else if (btConnected) {
        color = &COLOR_BLUE;    /* STA-REQ-03: nur Bluetooth */
    } else if (wifiConnected) {
        color = &COLOR_CYAN;    /* STA-REQ-04: nur WLAN */
    } else {
        color = &COLOR_ORANGE;  /* STA-REQ-02: keine Verbindung */
    }

    Status_SetLed(color);
}

static void Status_Thread(void *p1, void *p2, void *p3)
{
    Wifi_Status_t      wifiSt;
    Bluetooth_Status_t btSt;

    ARG_UNUSED(p1);
    ARG_UNUSED(p2);
    ARG_UNUSED(p3);

    /* STA-REQ-01: LED initialisieren */
    g_LedDev = DEVICE_DT_GET(STATUS_LED_NODE);
    if (!device_is_ready(g_LedDev)) {
        g_LedDev = NULL;
        return;
    }

    /* Initialer Zustand: keine Verbindung -> Orange */
    Status_SetConnectionState(false, false);

    /* STA-REQ-06: Verbindungszustand abfragen und LED aktualisieren */
    while (true) {
        Wifi_GetStatus(&wifiSt);
        Bluetooth_GetStatus(&btSt);
        Status_SetConnectionState(wifiSt.connected, btSt.connected);
        k_sleep(K_MSEC(STATUS_POLL_MS));
    }
}

/* STA-NFR-02: Statisch allozierter Stack */
K_THREAD_DEFINE(status_thread, STATUS_THREAD_STACK_SIZE,
                Status_Thread, NULL, NULL, NULL,
                STATUS_THREAD_PRIORITY, 0, 0);
```

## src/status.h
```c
/* STA-REQ-06..08: API fuer RGB-LED-Statusanzeige */
#ifndef APP_STATUS_H
#define APP_STATUS_H

#include <stdbool.h>
#include <stdint.h>

/* STA-REQ-07: 10 logarithmische Helligkeitsstufen (0 = minimal, 9 = 100 %) */
#define STATUS_BRIGHTNESS_STEPS    (10U)
/* STA-REQ-07: Standard-Helligkeit Stufe 6 = 64/255 = 25 % */
#define STATUS_BRIGHTNESS_DEFAULT  (6U)

/* STA-REQ-06: Verbindungsstatus melden und LED sofort aktualisieren.
 * Thread-sicher; Reaktionszeit <= 500 ms (STA-NFR-03). */
void Status_SetConnectionState(bool wifiConnected, bool btConnected);

/* STA-REQ-08: Helligkeitsstufe setzen (0..STATUS_BRIGHTNESS_STEPS-1). */
void Status_SetBrightness(uint8_t step);

/* STA-REQ-08: Aktuelle Helligkeitsstufe abfragen. */
uint8_t Status_GetBrightness(void);

#endif /* APP_STATUS_H */
```

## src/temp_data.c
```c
/* TMP-REQ-01, TMP-REQ-02, TMP-REQ-03 */
#include "temp_data.h"

#include <errno.h>

/* TMP-REQ-02: Statisch initialisierter Mutex (kein Init-Aufruf noetig) */
K_MUTEX_DEFINE(g_TempMutex);

/* TMP-REQ-03: Statisch initialisierte Condvar und Generationszaehler */
K_CONDVAR_DEFINE(g_TempCondvar);
uint32_t g_TempGen = 0U;

/* TMP-REQ-01: Globale Temperaturdaten mit Initialisierungswerten.
 * Alle Werte ungueltig (→ Anzeige "--") bis die erste BT-Verbindung steht. */
Temp_Data_t g_TempData = {
    .burner = {
        { .value = (int16_t)0, .valid = false },
        { .value = (int16_t)0, .valid = false },
        { .value = (int16_t)0, .valid = false },
        { .value = (int16_t)0, .valid = false },
    },
    .core = {
        { .value = (int16_t)0, .valid = false },
        { .value = (int16_t)0, .valid = false },
        { .value = (int16_t)0, .valid = false },
        { .value = (int16_t)0, .valid = false },
    },
    .gas = { .value = (int16_t)0, .valid = false },
};

/* TMP-REQ-03: Einzelwert setzen, Generation erhoehen, Warter wecken */
int Temp_Set(uint8_t group, uint8_t zone, int16_t value, bool valid)
{
    Temp_Entry_t *arr;

    if (zone >= (uint8_t)TEMP_ZONE_COUNT) {
        return -EINVAL;
    }

    (void)k_mutex_lock(&g_TempMutex, K_FOREVER);

    switch (group) {
    case TEMP_GROUP_BURNER:
        arr = g_TempData.burner;
        break;
    case TEMP_GROUP_CORE:
        arr = g_TempData.core;
        break;
    default:
        (void)k_mutex_unlock(&g_TempMutex);
        return -EINVAL;
    }

    arr[zone].value = value;
    arr[zone].valid = valid;
    g_TempGen++;
    (void)k_condvar_broadcast(&g_TempCondvar);

    (void)k_mutex_unlock(&g_TempMutex);

    return 0;
}

/* TMP-REQ-03: Sammel-Benachrichtigung ohne Wertaenderung */
void Temp_NotifyChanged(void)
{
    (void)k_mutex_lock(&g_TempMutex, K_FOREVER);
    g_TempGen++;
    (void)k_condvar_broadcast(&g_TempCondvar);
    (void)k_mutex_unlock(&g_TempMutex);
}

/* DSP-REQ-06: Gasfuellstand setzen — bei valid = true Bereich 0..100 % erforderlich */
int Temp_SetGas(int16_t percent, bool valid)
{
    if (valid && ((percent < (int16_t)0) || (percent > (int16_t)100))) {
        return -EINVAL;
    }

    (void)k_mutex_lock(&g_TempMutex, K_FOREVER);
    g_TempData.gas.value = percent;
    g_TempData.gas.valid = valid;
    g_TempGen++;
    (void)k_condvar_broadcast(&g_TempCondvar);
    (void)k_mutex_unlock(&g_TempMutex);

    return 0;
}
```

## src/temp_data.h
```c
/* TMP-REQ-01, TMP-REQ-02 */
#ifndef APP_TEMP_DATA_H
#define APP_TEMP_DATA_H

#include <stdint.h>
#include <stdbool.h>
#include <zephyr/kernel.h>

/* TMP-REQ-01: Anzahl Zonen */
#define TEMP_ZONE_COUNT (4U)

/* TMP-REQ-01: Einzelner Temperaturwert mit Gueltigkeitsflag.
 * valid = false bedeutet "nicht verfuegbar" → Anzeige "--".
 * Ein Wert von 0 ist ein gueltiger Messwert (kein Sentinel). */
typedef struct {
    int16_t value; /* Temperatur in °C */
    bool    valid; /* false: Wert nicht verfuegbar */
} Temp_Entry_t;

/* TMP-REQ-01: Gesamtstruktur aller Messwerte. Trotz des Namens "Temp" enthaelt
 * die Struct auch nicht-temperaturartige Sensordaten (z.B. Gasfuellstand), die
 * unter demselben Mutex/Condvar bereitgestellt werden. */
typedef struct {
    Temp_Entry_t burner[TEMP_ZONE_COUNT]; /* Brennertemperaturen (°C) */
    Temp_Entry_t core[TEMP_ZONE_COUNT];   /* Kerntemperaturen (°C, Fleischthermometer) */
    Temp_Entry_t gas;                     /* DSP-REQ-06: Gasflaschen-Fuellstand (%) */
} Temp_Data_t;

/* TMP-REQ-02: Global verfuegbare Datenstruktur und Mutex */
extern struct k_mutex g_TempMutex;
extern Temp_Data_t    g_TempData;

/* TMP-REQ-03: Generationszaehler und Condvar zur Aenderungsbenachrichtigung.
 * g_TempGen wird bei jeder Wertaenderung (unter g_TempMutex) erhoeht; Warter
 * auf g_TempCondvar (z.B. der SSE-Handler) werden geweckt. */
extern struct k_condvar g_TempCondvar;
extern uint32_t         g_TempGen;

/* TMP-REQ-03: Gruppenindex fuer Temp_Set() */
#define TEMP_GROUP_BURNER (0U)
#define TEMP_GROUP_CORE   (1U)

/* TMP-REQ-03: Einzelnen Messwert setzen, Generationszaehler erhoehen und Warter
 * wecken — alles atomar unter g_TempMutex.
 * group: TEMP_GROUP_*, zone: 0..TEMP_ZONE_COUNT-1.
 * Rueckgabe: 0 bei Erfolg, -EINVAL bei ungueltigem group/zone. */
int Temp_Set(uint8_t group, uint8_t zone, int16_t value, bool valid);

/* TMP-REQ-03: Aenderung signalisieren, ohne einen Wert zu setzen — fuer den Fall,
 * dass ein Erzeuger g_TempData direkt unter Mutex aktualisiert und danach genau
 * einmal eine Sammel-Benachrichtigung ausloesen moechte. */
void Temp_NotifyChanged(void);

/* DSP-REQ-06: Gasflaschen-Fuellstand setzen (Wert in Prozent 0..100, atomar unter
 * g_TempMutex; erhoeht g_TempGen und weckt Warter).
 * percent: 0..100 (bei valid = true erforderlich), ignoriert bei valid = false.
 * Rueckgabe: 0 bei Erfolg, -EINVAL bei (valid && percent ausserhalb 0..100). */
int Temp_SetGas(int16_t percent, bool valid);

#endif /* APP_TEMP_DATA_H */
```
